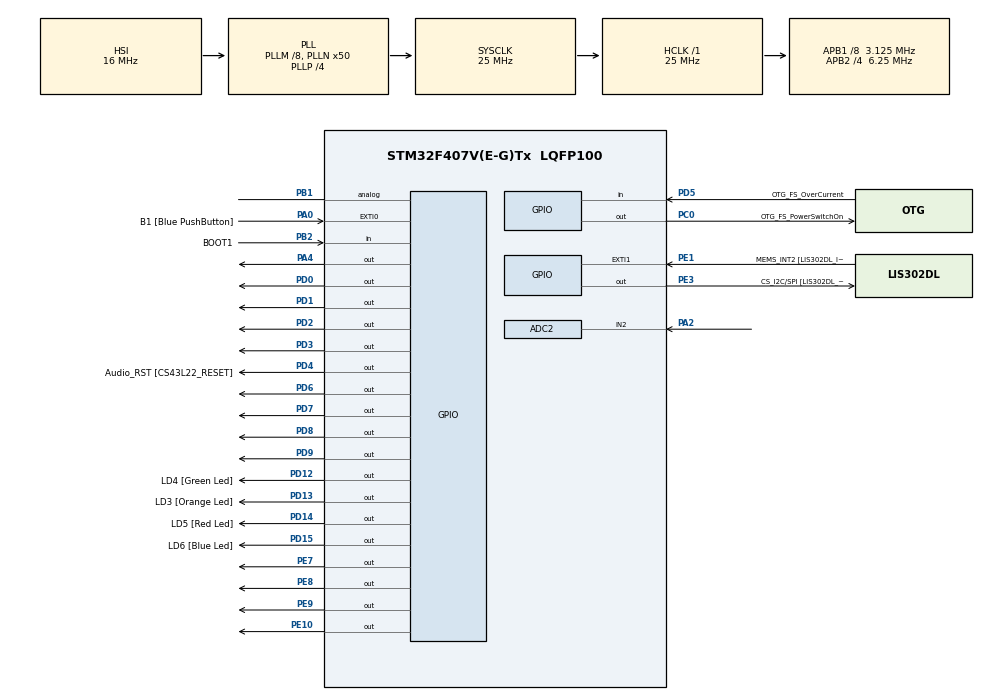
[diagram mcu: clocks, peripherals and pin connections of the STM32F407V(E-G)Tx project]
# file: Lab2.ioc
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ADC2.Channel-0\#ChannelRegularConversion=ADC_CHANNEL_2
ADC2.ClockPrescaler=ADC_CLOCK_SYNC_PCLK_DIV2
ADC2.ContinuousConvMode=DISABLE
ADC2.DMAContinuousRequests=DISABLE
ADC2.DataAlign=ADC_DATAALIGN_RIGHT
ADC2.DiscontinuousConvMode=DISABLE
ADC2.EOCSelection=ADC_EOC_SINGLE_CONV
ADC2.EnableAnalogWatchDog=false
ADC2.ExternalTrigConv=ADC_EXTERNALTRIGCONV_T2_TRGO
ADC2.ExternalTrigConvEdge=ADC_EXTERNALTRIGCONVEDGE_RISING
ADC2.InjNumberOfConversion=0
ADC2.NbrOfConversion=1
ADC2.NbrOfConversionFlag=1
ADC2.Rank-0\#ChannelRegularConversion=1
ADC2.Resolution=ADC_RESOLUTION_8B
ADC2.SamplingTime-0\#ChannelRegularConversion=ADC_SAMPLETIME_3CYCLES
ADC2.ScanConvMode=DISABLE
Mcu.Family=STM32F4
Mcu.Name=STM32F407V(E-G)Tx
Mcu.Package=LQFP100
NVIC.PriorityGroup=NVIC_PRIORITYGROUP_0
NVIC.TIM2_IRQn=true\:0\:0\:false\:false\:true\:true
NVIC.TIM3_IRQn=true\:0\:0\:false\:false\:true\:true
PA0-WKUP.GPIO_Label=B1 [Blue PushButton]
PA0-WKUP.GPIO_ModeDefaultEXTI=GPIO_MODE_EVT_RISING
PA0-WKUP.GPIO_PuPd=GPIO_NOPULL
PA0-WKUP.Signal=GPXTI0
PA10.GPIO_Label=OTG_FS_ID
PA10.GPIO_Mode=GPIO_MODE_AF_PP
PA10.GPIO_PuPd=GPIO_NOPULL
PA10.GPIO_Speed=GPIO_SPEED_FREQ_LOW
PA10.Signal=USB_OTG_FS_ID
PA11.GPIO_Label=OTG_FS_DM
PA11.GPIO_Mode=GPIO_MODE_AF_PP
PA11.GPIO_PuPd=GPIO_NOPULL
PA11.GPIO_Speed=GPIO_SPEED_FREQ_LOW
PA11.Signal=USB_OTG_FS_DM
PA12.GPIO_Label=OTG_FS_DP
PA12.GPIO_Mode=GPIO_MODE_AF_PP
PA12.GPIO_PuPd=GPIO_NOPULL
PA12.GPIO_Speed=GPIO_SPEED_FREQ_LOW
PA12.Signal=USB_OTG_FS_DP
PA13.GPIO_Label=SWDIO
PA13.Signal=SYS_JTMS-SWDIO
PA14.GPIO_Label=SWCLK
PA14.Signal=SYS_JTCK-SWCLK
PA2.Signal=ADCx_IN2
PA4.Signal=GPIO_Output
PA5.GPIO_Label=SPI1_SCK [LIS302DL_SCL/SPC]
PA5.GPIO_Mode=GPIO_MODE_AF_PP
PA5.GPIO_PuPd=GPIO_NOPULL
PA5.GPIO_Speed=GPIO_SPEED_FREQ_LOW
PA5.Signal=SPI1_SCK
PA6.GPIO_Label=SPI1_MISO [LIS302DL_SDO]
PA6.GPIO_Mode=GPIO_MODE_AF_PP
PA6.GPIO_PuPd=GPIO_NOPULL
PA6.GPIO_Speed=GPIO_SPEED_FREQ_LOW
PA6.Signal=SPI1_MISO
PA7.GPIO_Label=SPI1_MOSI [LIS302DL_SDA/SDI/SDO]
PA7.GPIO_Mode=GPIO_MODE_AF_PP
PA7.GPIO_PuPd=GPIO_NOPULL
PA7.GPIO_Speed=GPIO_SPEED_FREQ_LOW
PA7.Signal=SPI1_MOSI
PA9.GPIO_Label=VBUS_FS
PA9.GPIO_Mode=GPIO_MODE_INPUT
PA9.GPIO_PuPd=GPIO_NOPULL
PA9.Signal=USB_OTG_FS_VBUS
PB1.Signal=GPIO_Analog
PB10.GPIO_Label=CLK_IN [MP45DT02_CLK]
PB10.GPIO_Mode=GPIO_MODE_AF_PP
PB10.GPIO_PuPd=GPIO_NOPULL
PB10.GPIO_Speed=GPIO_SPEED_FREQ_LOW
PB10.Signal=I2S2_CK
PB2.GPIO_Label=BOOT1
PB2.GPIO_Mode=GPIO_MODE_INPUT
PB2.GPIO_PuPd=GPIO_NOPULL
PB2.Signal=GPIO_Input
PB3.GPIO_Label=SWO
PB3.Signal=SYS_JTDO-SWO
PB6.GPIO_Label=Audio_SCL [CS43L22_SCL]
PB6.GPIO_Mode=GPIO_MODE_AF_OD
PB6.GPIO_PuPd=GPIO_NOPULL
PB6.GPIO_Speed=GPIO_SPEED_FREQ_LOW
PB6.Signal=I2C1_SCL
PB9.GPIO_Label=Audio_SDA [CS43L22_SDA]
PB9.GPIO_Mode=GPIO_MODE_AF_OD
PB9.GPIO_PuPd=GPIO_NOPULL
PB9.GPIO_Speed=GPIO_SPEED_FREQ_LOW
PB9.Signal=I2C1_SDA
PC0.GPIO_Label=OTG_FS_PowerSwitchOn
PC0.GPIO_PuPd=GPIO_NOPULL
PC0.GPIO_Speed=GPIO_SPEED_FREQ_LOW
PC0.PinState=GPIO_PIN_SET
PC0.Signal=GPIO_Output
PC10.GPIO_Label=I2S3_SCK [CS43L22_SCLK]
PC10.GPIO_Mode=GPIO_MODE_AF_PP
PC10.GPIO_PuPd=GPIO_NOPULL
PC10.GPIO_Speed=GPIO_SPEED_FREQ_LOW
PC10.Signal=I2S3_CK
PC12.GPIO_Label=I2S3_SD [CS43L22_SDIN]
PC12.GPIO_Mode=GPIO_MODE_AF_PP
PC12.GPIO_PuPd=GPIO_NOPULL
PC12.GPIO_Speed=GPIO_SPEED_FREQ_LOW
PC12.Signal=I2S3_SD
PC14-OSC32_IN.GPIO_Label=PC14-OSC32_IN
PC14-OSC32_IN.Signal=RCC_OSC32_IN
PC15-OSC32_OUT.GPIO_Label=PC15-OSC32_OUT
PC15-OSC32_OUT.Signal=RCC_OSC32_OUT
PC3.GPIO_Label=PDM_OUT [MP45DT02_DOUT]
PC3.GPIO_Mode=GPIO_MODE_AF_PP
PC3.GPIO_PuPd=GPIO_NOPULL
PC3.GPIO_Speed=GPIO_SPEED_FREQ_LOW
PC3.Signal=I2S2_SD
PC7.GPIO_Label=I2S3_MCK [CS43L22_MCLK]
PC7.GPIO_Mode=GPIO_MODE_AF_PP
PC7.GPIO_PuPd=GPIO_NOPULL
PC7.GPIO_Speed=GPIO_SPEED_FREQ_LOW
PC7.Signal=I2S3_MCK
PD0.Signal=GPIO_Output
PD1.Signal=GPIO_Output
PD12.GPIO_Label=LD4 [Green Led]
PD12.GPIO_PuPd=GPIO_NOPULL
PD12.GPIO_Speed=GPIO_SPEED_FREQ_LOW
PD12.Signal=GPIO_Output
PD13.GPIO_Label=LD3 [Orange Led]
PD13.GPIO_PuPd=GPIO_NOPULL
PD13.GPIO_Speed=GPIO_SPEED_FREQ_LOW
PD13.Signal=GPIO_Output
PD14.GPIO_Label=LD5 [Red Led]
PD14.GPIO_PuPd=GPIO_NOPULL
PD14.GPIO_Speed=GPIO_SPEED_FREQ_LOW
PD14.Signal=GPIO_Output
PD15.GPIO_Label=LD6 [Blue Led]
PD15.GPIO_PuPd=GPIO_NOPULL
PD15.GPIO_Speed=GPIO_SPEED_FREQ_LOW
PD15.Signal=GPIO_Output
PD2.Signal=GPIO_Output
PD3.Signal=GPIO_Output
PD4.GPIO_Label=Audio_RST [CS43L22_RESET]
PD4.GPIO_PuPd=GPIO_NOPULL
PD4.GPIO_Speed=GPIO_SPEED_FREQ_LOW
PD4.Signal=GPIO_Output
PD5.GPIO_Label=OTG_FS_OverCurrent
PD5.GPIO_Mode=GPIO_MODE_INPUT
PD5.GPIO_PuPd=GPIO_NOPULL
PD5.Signal=GPIO_Input
PD6.Signal=GPIO_Output
PD7.Signal=GPIO_Output
PD8.Signal=GPIO_Output
PD9.Signal=GPIO_Output
PE1.GPIO_Label=MEMS_INT2 [LIS302DL_INT2]
PE1.GPIO_ModeDefaultEXTI=GPIO_MODE_EVT_RISING
PE1.GPIO_PuPd=GPIO_NOPULL
PE1.Signal=GPXTI1
PE10.Signal=GPIO_Output
PE3.GPIO_Label=CS_I2C/SPI [LIS302DL_CS_I2C/SPI]
PE3.GPIO_PuPd=GPIO_NOPULL
PE3.GPIO_Speed=GPIO_SPEED_FREQ_LOW
PE3.Signal=GPIO_Output
PE7.Signal=GPIO_Output
PE8.Signal=GPIO_Output
PE9.Signal=GPIO_Output
PH0-OSC_IN.GPIO_Label=PH0-OSC_IN
PH0-OSC_IN.Signal=RCC_OSC_IN
PH1-OSC_OUT.GPIO_Label=PH1-OSC_OUT
PH1-OSC_OUT.Signal=RCC_OSC_OUT
ProjectManager.HeapSize=0x200
ProjectManager.StackSize=0x400
ProjectManager.TargetToolchain=MDK-ARM V5
RCC.48MHZClocksFreq_Value=14285714.285714285
RCC.AHBFreq_Value=25000000
RCC.APB1CLKDivider=RCC_HCLK_DIV8
RCC.APB1Freq_Value=3125000
RCC.APB1TimFreq_Value=6250000
RCC.APB2CLKDivider=RCC_HCLK_DIV4
RCC.APB2Freq_Value=6250000
RCC.APB2TimFreq_Value=12500000
RCC.CortexFreq_Value=25000000
RCC.HCLKFreq_Value=25000000
RCC.HSE_VALUE=8000000
RCC.HSI_VALUE=16000000
RCC.LSE_VALUE=32768
RCC.PLLM=8
RCC.PLLN=50
RCC.PLLP=RCC_PLLP_DIV4
RCC.PLLQ=7
RCC.SYSCLKFreq_VALUE=25000000
RCC.SYSCLKSource=RCC_SYSCLKSOURCE_PLLCLK
RCC.VCOOutputFreq_Value=100000000
SH.ADCx_IN2.0=ADC2_IN2,IN2
TIM2.Period=1000
TIM2.Prescaler=6250
TIM2.TIM_MasterOutputTrigger=TIM_TRGO_UPDATE
TIM3.Period=10
TIM3.Prescaler=6250
VP_TIM2_VS_ClockSourceINT.Mode=Internal
VP_TIM3_VS_ClockSourceINT.Mode=Internal
board=STM32F4DISCOVERY

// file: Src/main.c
/**
  ******************************************************************************
  * File Name          : main.c
  * Description        : Main program body
  ******************************************************************************
  ** This notice applies to any and all portions of this file
  * that are not between comment pairs USER CODE BEGIN and
  * USER CODE END. Other portions of this file, whether
  * inserted by the user or by software development tools
  * are owned by their respective copyright owners.
  *
  * COPYRIGHT(c) 2017 STMicroelectronics
  *
  * Redistribution and use in source and binary forms, with or without modification,
  * are permitted provided that the following conditions are met:
  *   1. Redistributions of source code must retain the above copyright notice,
  *      this list of conditions and the following disclaimer.
  *   2. Redistributions in binary form must reproduce the above copyright notice,
  *      this list of conditions and the following disclaimer in the documentation
  *      and/or other materials provided with the distribution.
  *   3. Neither the name of STMicroelectronics nor the names of its contributors
  *      may be used to endorse or promote products derived from this software
  *      without specific prior written permission.
  *
  * THIS SOFTWARE IS PROVIDED BY THE COPYRIGHT HOLDERS AND CONTRIBUTORS "AS IS"
  * AND ANY EXPRESS OR IMPLIED WARRANTIES, INCLUDING, BUT NOT LIMITED TO, THE
  * IMPLIED WARRANTIES OF MERCHANTABILITY AND FITNESS FOR A PARTICULAR PURPOSE ARE
  * DISCLAIMED. IN NO EVENT SHALL THE COPYRIGHT HOLDER OR CONTRIBUTORS BE LIABLE
  * FOR ANY DIRECT, INDIRECT, INCIDENTAL, SPECIAL, EXEMPLARY, OR CONSEQUENTIAL
  * DAMAGES (INCLUDING, BUT NOT LIMITED TO, PROCUREMENT OF SUBSTITUTE GOODS OR
  * SERVICES; LOSS OF USE, DATA, OR PROFITS; OR BUSINESS INTERRUPTION) HOWEVER
  * CAUSED AND ON ANY THEORY OF LIABILITY, WHETHER IN CONTRACT, STRICT LIABILITY,
  * OR TORT (INCLUDING NEGLIGENCE OR OTHERWISE) ARISING IN ANY WAY OUT OF THE USE
  * OF THIS SOFTWARE, EVEN IF ADVISED OF THE POSSIBILITY OF SUCH DAMAGE.
  *
  ******************************************************************************
  */
#include "main.h"
#include "stm32f4xx_hal.h"
#include "adc.h"
#include "tim.h"
#include "gpio.h"

/* USER CODE BEGIN Includes */
#include <math.h>
#include <limits.h>
#include <stdio.h>
#include <stdlib.h>
#include "stm32f4xx.h"

/* USER CODE END Includes */

/* USER CODE BEGIN PV */
/* Private variables ---------------------------------------------------------*/

/* USER CODE END PV */

void SystemClock_Config(void);

/* USER CODE BEGIN PFP */
/* Private function prototypes -----------------------------------------------*/
void Segments (int c, int value_array);
struct Buff_t;

/* USER CODE END PFP */

/* USER CODE BEGIN 0 */
//Always set our window size to 1000, can adjust virtual window size inside of it
int Window = 1000;
int value_array[4];
int f2 = 0;
int f = 0;
int z = 0;
int w = 0;
int c = 0;
void HAL_TIM_PeriodElapsedCallback(TIM_HandleTypeDef * htim) {
  if (htim - > Instance == TIM2) {
    f2 = 1;
    z += 1;
  }

  if (htim - > Instance == TIM3) {
    w += 1;
    if (w >= 2) {
      HAL_GPIO_TogglePin(GPIOA, GPIO_PIN_4);
      w = 0;
    }
    f = 1;
    if (c >= 3) {
      c = 0;
    } else {
      c += 1;
    }
  }
}
/* USER CODE END 0 */
int main(void) {
  /* USER CODE BEGIN 1 */
  float varA = 0;
  float varB = 0;
  int N = 0;
  int value;
  float conv;
  float conv2;

  uint8_t adcVal;
  float RMS;
  float RMS2;
  uint8_t prev;
  uint8_t temp;

  uint8_t Buff_dataSpace[Window];

  uint8_t Buffer[1000];
  int in = 0, out = 0;
  /* USER CODE END 1 */

  /* MCU Configuration----------------------------------------------------------*/

  /* Reset of all peripherals, Initializes the Flash interface and the Systick. */
  HAL_Init();

  /* Configure the system clock */
  SystemClock_Config();

  /* Initialize all configured peripherals */
  MX_GPIO_Init();
  MX_ADC2_Init();
  MX_TIM2_Init();
  MX_TIM3_Init();

  /* USER CODE BEGIN 2 */
  HAL_TIM_Base_Start_IT( & htim2);
  HAL_TIM_Base_Start_IT( & htim3);
  HAL_ADC_Start( & hadc2);

  /* USER CODE END 2 */

  /* Infinite loop */
  while (1) {

    /* USER CODE BEGIN 3 */

    while (f2 == 1) {
      adcVal = HAL_ADC_GetValue( & hadc2);

      if (N >= Window) {
        //BuffPop (&Buff, &prev);
        prev = Buffer[out];
        out = (out + 1) % (Window);
        conv2 = (((3.300) * prev) / 255);
        varB = varB + ((conv2) * (conv2));
      } else {
        N += 1;
      }
      //BuffPush (&Buff, adcVal);
      Buffer[ in ] = adcVal; in = ( in +1) % (Window);
      conv = (((3.300) * adcVal) / 255);
      varA = varA + ((conv) * (conv));

      RMS2 = ((varA) - (varB)) / N;
      RMS = sqrtf(RMS2);
      while (z >= 120) {
        value = (int)(1000 * RMS);
        for (int v = 0; v < 4; v++) {
          value_array[3 - v] = value % 10;
          value = value / 10;
        }

        z = 0;
      }
      if ((int) varA >= INT_MAX - 130000) {
        varA = 2 * RMS;
        varB = RMS;
      }

      f2 = 0;
    }

    while (f == 1) {

      switch (c) {
      case 0:
        HAL_GPIO_WritePin(GPIOE, GPIO_PIN_10, GPIO_PIN_RESET); //digit 4 off
        Segments(c, value_array[c]);
        HAL_GPIO_WritePin(GPIOE, GPIO_PIN_7, GPIO_PIN_SET); //digit 1 on
        break;

      case 1:
        HAL_GPIO_WritePin(GPIOE, GPIO_PIN_7, GPIO_PIN_RESET); //digit 1 off
        Segments(c, value_array[c]);
        HAL_GPIO_WritePin(GPIOE, GPIO_PIN_8, GPIO_PIN_SET); //digit 2 on
        break;

      case 2:
        HAL_GPIO_WritePin(GPIOE, GPIO_PIN_8, GPIO_PIN_RESET); //digit 2 off
        Segments(c, value_array[c]);
        HAL_GPIO_WritePin(GPIOE, GPIO_PIN_9, GPIO_PIN_SET); //digit 3 on
        break;

      case 3:
        HAL_GPIO_WritePin(GPIOE, GPIO_PIN_9, GPIO_PIN_RESET); //digit 3 off
        Segments(c, value_array[c]);
        HAL_GPIO_WritePin(GPIOE, GPIO_PIN_10, GPIO_PIN_SET); //digit 4 on
        break;
      }
      f = 0;
    }

    // Step(1): To get the ADC value
    // Step(2): Display ADC value on LEDs
    // 1. adc val 0 - 63, Green LED
    if (adcVal == 0) {
      HAL_GPIO_WritePin(GPIOD, GPIO_PIN_12, GPIO_PIN_RESET);
      HAL_GPIO_WritePin(GPIOD, GPIO_PIN_13, GPIO_PIN_SET);

    }
    // 2. adc val 64 -127, Orange LED
    else {
      HAL_GPIO_WritePin(GPIOD, GPIO_PIN_12, GPIO_PIN_SET);
      HAL_GPIO_WritePin(GPIOD, GPIO_PIN_13, GPIO_PIN_RESET);

    }
  }
  /* USER CODE END 3 */
}

/** System Clock Configuration
*/
void SystemClock_Config(void)
{

  RCC_OscInitTypeDef RCC_OscInitStruct;
  RCC_ClkInitTypeDef RCC_ClkInitStruct;

    /**Configure the main internal regulator output voltage
    */
  __HAL_RCC_PWR_CLK_ENABLE();

  __HAL_PWR_VOLTAGESCALING_CONFIG(PWR_REGULATOR_VOLTAGE_SCALE1);

    /**Initializes the CPU, AHB and APB busses clocks
    */
  RCC_OscInitStruct.OscillatorType = RCC_OSCILLATORTYPE_HSI;
  RCC_OscInitStruct.HSIState = RCC_HSI_ON;
  RCC_OscInitStruct.HSICalibrationValue = 16;
  RCC_OscInitStruct.PLL.PLLState = RCC_PLL_ON;
  RCC_OscInitStruct.PLL.PLLSource = RCC_PLLSOURCE_HSI;
  RCC_OscInitStruct.PLL.PLLM = 8;
  RCC_OscInitStruct.PLL.PLLN = 50;
  RCC_OscInitStruct.PLL.PLLP = RCC_PLLP_DIV4;
  RCC_OscInitStruct.PLL.PLLQ = 7;
  if (HAL_RCC_OscConfig(&RCC_OscInitStruct) != HAL_OK)
  {
    _Error_Handler(__FILE__, __LINE__);
  }

    /**Initializes the CPU, AHB and APB busses clocks
    */
  RCC_ClkInitStruct.ClockType = RCC_CLOCKTYPE_HCLK|RCC_CLOCKTYPE_SYSCLK
                              |RCC_CLOCKTYPE_PCLK1|RCC_CLOCKTYPE_PCLK2;
  RCC_ClkInitStruct.SYSCLKSource = RCC_SYSCLKSOURCE_PLLCLK;
  RCC_ClkInitStruct.AHBCLKDivider = RCC_SYSCLK_DIV1;
  RCC_ClkInitStruct.APB1CLKDivider = RCC_HCLK_DIV8;
  RCC_ClkInitStruct.APB2CLKDivider = RCC_HCLK_DIV4;

  if (HAL_RCC_ClockConfig(&RCC_ClkInitStruct, FLASH_LATENCY_0) != HAL_OK)
  {
    _Error_Handler(__FILE__, __LINE__);
  }

    /**Configure the Systick interrupt time
    */
  HAL_SYSTICK_Config(HAL_RCC_GetHCLKFreq()/1000);

    /**Configure the Systick
    */
  HAL_SYSTICK_CLKSourceConfig(SYSTICK_CLKSOURCE_HCLK);

  /* SysTick_IRQn interrupt configuration */
  HAL_NVIC_SetPriority(SysTick_IRQn, 0, 0);
}

/* USER CODE BEGIN 4 */

void Segments(int digit, int value) {

  if ((value != 1) && (value != 4)) {
    HAL_GPIO_WritePin(GPIOD, GPIO_PIN_0, GPIO_PIN_SET);
  } else {
    HAL_GPIO_WritePin(GPIOD, GPIO_PIN_0, GPIO_PIN_RESET); //reset A
  }

  if ((value != 5) && (value != 6)) {
    HAL_GPIO_WritePin(GPIOD, GPIO_PIN_1, GPIO_PIN_SET);
  } else {
    HAL_GPIO_WritePin(GPIOD, GPIO_PIN_1, GPIO_PIN_RESET); //reset B
  }

  if ((value != 2)) {
    HAL_GPIO_WritePin(GPIOD, GPIO_PIN_2, GPIO_PIN_SET);
  } else {
    HAL_GPIO_WritePin(GPIOD, GPIO_PIN_2, GPIO_PIN_RESET); //reset C
  }

  if ((value != 1) && (value != 4) && (value != 7) && (value != 9)) {
    HAL_GPIO_WritePin(GPIOD, GPIO_PIN_3, GPIO_PIN_SET);
  } else {
    HAL_GPIO_WritePin(GPIOD, GPIO_PIN_3, GPIO_PIN_RESET); //reset D
  }

  if ((value == 2) || (value == 6) || (value == 8) || (value == 0)) {
    HAL_GPIO_WritePin(GPIOD, GPIO_PIN_6, GPIO_PIN_SET);
  } else {
    HAL_GPIO_WritePin(GPIOD, GPIO_PIN_6, GPIO_PIN_RESET); //reset E
  }

  if ((value != 1) && (value != 2) && (value != 3) && (value != 7)) {
    HAL_GPIO_WritePin(GPIOD, GPIO_PIN_7, GPIO_PIN_SET);
  } else {
    HAL_GPIO_WritePin(GPIOD, GPIO_PIN_7, GPIO_PIN_RESET); //reset F
  }

  if ((value != 1) && (value != 7) && (value != 0)) {
    HAL_GPIO_WritePin(GPIOD, GPIO_PIN_8, GPIO_PIN_SET);
  } else {
    HAL_GPIO_WritePin(GPIOD, GPIO_PIN_8, GPIO_PIN_RESET); //reset G
  }

  if (digit == 0) {
    HAL_GPIO_WritePin(GPIOD, GPIO_PIN_9, GPIO_PIN_SET);
  } else {
    HAL_GPIO_WritePin(GPIOD, GPIO_PIN_9, GPIO_PIN_RESET);
  }
}
/* USER CODE END 4 */

void _Error_Handler(char * file, int line)
{
  while(1)
  {
  }
}

/************************ (C) COPYRIGHT STMicroelectronics *****END OF FILE****/
